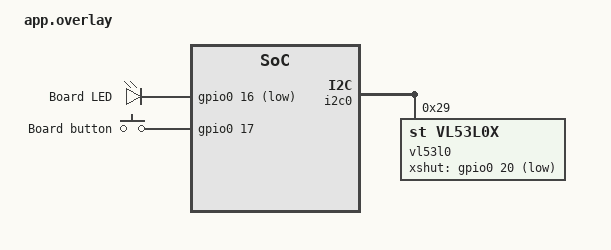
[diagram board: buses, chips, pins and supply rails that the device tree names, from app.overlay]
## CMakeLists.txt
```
# SPDX-License-Identifier: Apache-2.0

cmake_minimum_required(VERSION 3.20.0)

set(BOARD_ROOT ${CMAKE_CURRENT_SOURCE_DIR}/../../)
# set(ZEPHYR_EXTRA_MODULES ${CMAKE_CURRENT_SOURCE_DIR}/../../)

find_package(Zephyr REQUIRED HINTS $ENV{ZEPHYR_BASE})
project(vl53l0x)

FILE(GLOB app_sources src/*.c)
target_sources(app PRIVATE ${app_sources})
```

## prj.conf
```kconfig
# Peripheral
# CONFIG_STDOUT_CONSOLE=y
CONFIG_I2C=y
CONFIG_GPIO=y

# PRINT FLOAT
CONFIG_CBPRINTF_FP_SUPPORT=y

# SHELL
CONFIG_SHELL=y
CONFIG_GPIO_SHELL=y
CONFIG_I2C_SHELL=y

# Enable CONSOLE
CONFIG_CONSOLE=y

# Enable LOG
CONFIG_LOG=y
CONFIG_LOG_PRINTK=y
CONFIG_LOG_BUFFER_SIZE=4096

# Sensor
CONFIG_SENSOR=y
#CONFIG_SENSOR_LOG_LEVEL_DBG=y
CONFIG_VL53L0X_PROXIMITY_THRESHOLD=100
CONFIG_VL53L0X_RECONFIGURE_ADDRESS=y
```

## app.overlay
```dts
/ {
    leds {
        bd_led: bd_led {
			gpios = < &gpio0 16 GPIO_ACTIVE_LOW >;
			label = "Board LED";
            status = "okay";
		};
    };

    buttons {
        bd_btn: bd_btn {
			gpios = < &gpio0 17 GPIO_ACTIVE_HIGH >;
			label = "Board button";
            status = "okay";
		};
    };
};

&pinctrl {
    uart0_default: uart0_default {
		group1 {
			psels = <NRF_PSEL(UART_TX, 0, 26)>,
				<NRF_PSEL(UART_RX, 0, 25)>;
		};
	};
	uart0_sleep: uart0_sleep {
		group1 {
			psels = <NRF_PSEL(UART_TX, 0, 26)>,
				<NRF_PSEL(UART_RX, 0, 25)>;
		};
	};
};

&i2c0 {
	vl53l0: vl53l0x@29 {
		compatible = "st,vl53l0x";
		reg = <0x29>;
		xshut-gpios = <&gpio0 20 GPIO_ACTIVE_LOW>;
	};
};
```

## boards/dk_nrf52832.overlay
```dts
&i2c0 {
	compatible = "nordic,nrf-twi";
	status = "okay";
	pinctrl-0 = <&i2c0_default>;
	pinctrl-1 = <&i2c0_sleep>;
	pinctrl-names = "default", "sleep";

	vl53l0: vl53l0x@29 {
		compatible = "st,vl53l0x";
		reg = <0x29>;
		xshut-gpios = <&gpio0 20 GPIO_ACTIVE_LOW>;
	};
};
```

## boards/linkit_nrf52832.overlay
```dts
// &i2c0 {
// 	vl53l0: vl53l0x@29 {
// 		compatible = "st,vl53l0x";
// 		reg = <0x29>;
// 		xshut-gpios = <&gpio0 20 GPIO_ACTIVE_LOW>;
// 	};
// };
```

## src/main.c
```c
/*
 * Copyright (c) 2017 STMicroelectronics
 *
 * SPDX-License-Identifier: Apache-2.0
 */

#include <zephyr/kernel.h>
#include <zephyr/device.h>
#include <zephyr/drivers/sensor.h>
#include <stdio.h>
#include <zephyr/logging/log.h>
#include <zephyr/sys/printk.h>

LOG_MODULE_REGISTER(main, LOG_LEVEL_INF);

int main(void) {
    const struct device *const dev = DEVICE_DT_GET_ONE(st_vl53l0x);
    struct sensor_value value;
    int ret;

	printk("Hello World: %s\n", CONFIG_BOARD);

    if (!device_is_ready(dev)) {
        LOG_ERR("sensor: device not ready.");
        return 0;
    }

    while (1) {
        ret = sensor_sample_fetch(dev);
        if (ret) {
            LOG_ERR("sensor_sample_fetch failed ret %d", ret);
            return 0;
        }

        ret = sensor_channel_get(dev, SENSOR_CHAN_PROX, &value);
        LOG_INF("prox is %d", value.val1);

        ret = sensor_channel_get(dev, SENSOR_CHAN_DISTANCE, &value);
        LOG_INF("distance is %.3fm", sensor_value_to_double(&value));

        k_sleep(K_MSEC(1000));
    }
    return 0;
}
```
